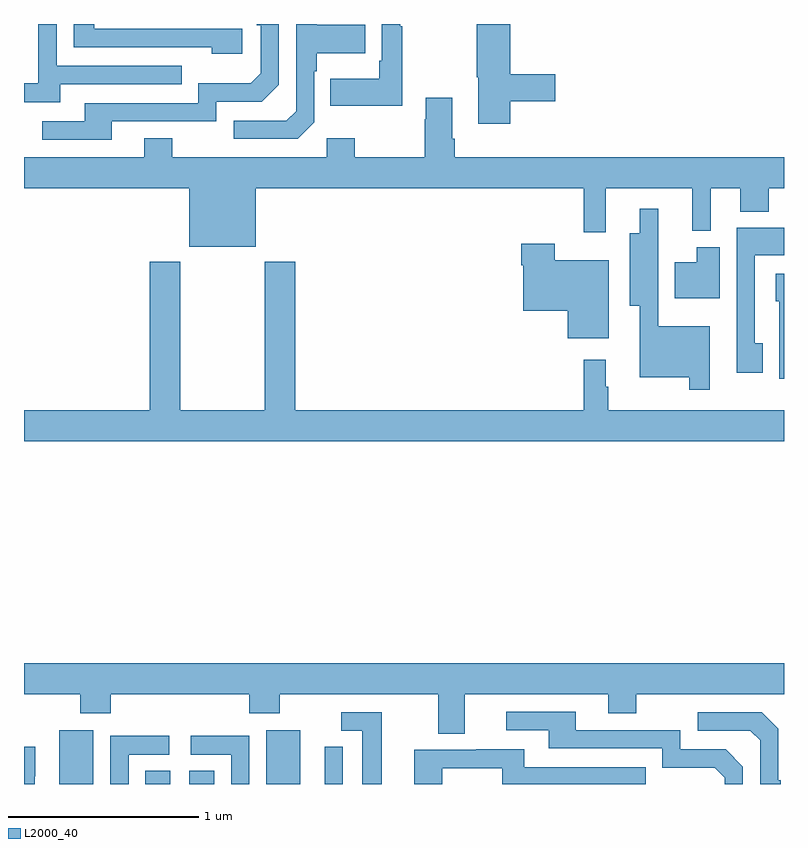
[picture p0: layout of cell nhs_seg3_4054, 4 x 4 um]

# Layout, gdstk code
import gdstk
lib = gdstk.Library(unit=1e-6, precision=1e-09)
def R(c, l, rs):  # rectangles x0, y0, x1, y1
    for r in rs: c.add(gdstk.rectangle(r[:2], r[2:], *l))
def P(c, l, *ps):  # polygons
    for p in ps: c.add(gdstk.Polygon(p, *l))
L2000_40 = (2000, 40)

nhs_seg3_4054 = lib.new_cell('nhs_seg3_4054')
R(nhs_seg3_4054, L2000_40, [(323.186,744.4,323.365,744.682), (323.639,744.4,323.77,744.47), (323.87,744.4,324.001,744.47), (324.275,744.4,324.454,744.682)])
P(nhs_seg3_4054, L2000_40, [(323.461,747.888),(324.012,747.888),(324.012,747.99),(324.252,747.99),(324.342,748.08),(324.342,748.4),(324.226,748.4),(324.226,748.394),(324.246,748.394),(324.246,748.14),(324.193,748.087),(323.916,748.087),(323.916,747.984),(323.321,747.984),(323.321,747.888),(323.097,747.888),(323.097,747.792),(323.461,747.792)],
  [(325.559,747.994),(325.795,747.994),(325.795,748.136),(325.559,748.136),(325.559,748.4),(325.384,748.4),(325.384,748.119),(325.391,748.119),(325.391,747.876),(325.559,747.876)],
  [(324.528,747.882),(324.528,748.151),(324.541,748.151),(324.541,748.247),(324.797,748.247),(324.797,748.395),(324.541,748.395),(324.541,748.4),(324.432,748.4),(324.432,747.942),(324.381,747.891),(324.105,747.891),(324.105,747.795),(324.441,747.795)],
  [(324.991,748.387),(324.979,748.387),(324.979,748.4),(324.882,748.4),(324.882,748.207),(324.87,748.207),(324.87,748.111),(324.613,748.111),(324.613,747.971),(324.991,747.971)],
  [(323.191,748.083),(323.831,748.083),(323.831,748.179),(323.172,748.179),(323.172,748.4),(323.076,748.4),(323.076,748.089),(323,748.089),(323,747.989),(323.191,747.989)],
  [(324.148,748.374),(323.371,748.374),(323.371,748.4),(323.262,748.4),(323.262,748.278),(323.987,748.278),(323.987,748.244),(324.148,748.244)],
  [(324.22,747.536),(325.945,747.536),(325.945,747.303),(326.061,747.303),(326.061,747.536),(326.516,747.536),(326.516,747.311),(326.614,747.311),(326.614,747.536),(326.771,747.536),(326.771,747.413),(326.919,747.413),(326.919,747.536),(327,747.536),(327,747.7),(325.268,747.7),(325.268,747.796),(325.255,747.796),(325.255,748.012),(325.115,748.012),(325.115,747.899),(325.108,747.899),(325.108,747.7),(324.741,747.7),(324.741,747.799),(324.594,747.799),(324.594,747.7),(323.781,747.7),(323.781,747.799),(323.633,747.799),(323.633,747.7),(323,747.7),(323,747.536),(323.87,747.536),(323.87,747.227),(324.22,747.227)],
  [(326.61,746.809),(326.338,746.809),(326.338,747.141),(326.337,747.141),(326.337,747.427),(326.24,747.427),(326.24,747.298),(326.189,747.298),(326.189,746.918),(326.24,746.918),(326.24,746.54),(326.502,746.54),(326.502,746.475),(326.61,746.475)],
  [(326.887,746.721),(326.847,746.721),(326.847,747.182),(327,747.182),(327,747.328),(326.751,747.328),(326.751,746.805),(326.75,746.805),(326.75,746.565),(326.887,746.565)],
  [(326.077,747.157),(325.794,747.157),(325.794,747.244),(325.616,747.244),(325.616,747.131),(325.628,747.131),(325.628,746.891),(325.862,746.891),(325.862,746.747),(326.077,746.747)],
  [(326.662,747.226),(326.54,747.226),(326.54,747.145),(326.426,747.145),(326.426,746.957),(326.662,746.957)],
  [(327,746.368),(326.074,746.368),(326.074,746.492),(326.062,746.492),(326.062,746.632),(325.945,746.632),(325.945,746.368),(324.428,746.368),(324.428,747.148),(324.268,747.148),(324.268,746.368),(323.823,746.368),(323.823,747.148),(323.663,747.148),(323.663,746.368),(323,746.368),(323,746.204),(327,746.204)],
  [(327,747.085),(326.957,747.085),(326.957,746.94),(326.975,746.94),(326.975,746.532),(327,746.532)],
  [(325.321,744.872),(326.075,744.872),(326.075,744.773),(326.223,744.773),(326.223,744.872),(327,744.872),(327,745.036),(323,745.036),(323,744.872),(323.296,744.872),(323.296,744.773),(323.456,744.773),(323.456,744.872),(324.185,744.872),(324.185,744.773),(324.345,744.773),(324.345,744.872),(325.181,744.872),(325.181,744.664),(325.321,744.664)],
  [(326.784,744.492),(326.694,744.582),(326.454,744.582),(326.454,744.684),(325.903,744.684),(325.903,744.78),(325.539,744.78),(325.539,744.684),(325.763,744.684),(325.763,744.588),(326.358,744.588),(326.358,744.485),(326.635,744.485),(326.688,744.432),(326.688,744.4),(326.784,744.4)],
  [(324.883,744.777),(324.669,744.777),(324.669,744.681),(324.779,744.681),(324.779,744.4),(324.883,744.4)],
  [(326.983,744.421),(326.97,744.421),(326.97,744.69),(326.883,744.777),(326.547,744.777),(326.547,744.681),(326.823,744.681),(326.874,744.63),(326.874,744.4),(326.983,744.4)],
  [(324.186,744.654),(323.877,744.654),(323.877,744.555),(324.09,744.555),(324.09,744.4),(324.186,744.4)],
  [(323.55,744.555),(323.764,744.555),(323.764,744.654),(323.454,744.654),(323.454,744.4),(323.55,744.4)],
  [(324.678,744.596),(324.582,744.596),(324.582,744.442),(324.584,744.442),(324.584,744.4),(324.678,744.4)],
  [(323.057,744.442),(323.058,744.442),(323.058,744.596),(323,744.596),(323,744.4),(323.057,744.4)],
  [(325.2,744.483),(325.518,744.483),(325.518,744.4),(326.273,744.4),(326.273,744.489),(325.633,744.489),(325.633,744.583),(325.379,744.583),(325.379,744.579),(325.055,744.579),(325.055,744.4),(325.2,744.4)])

lib.write_gds('nhs_seg3_4054.gds')
